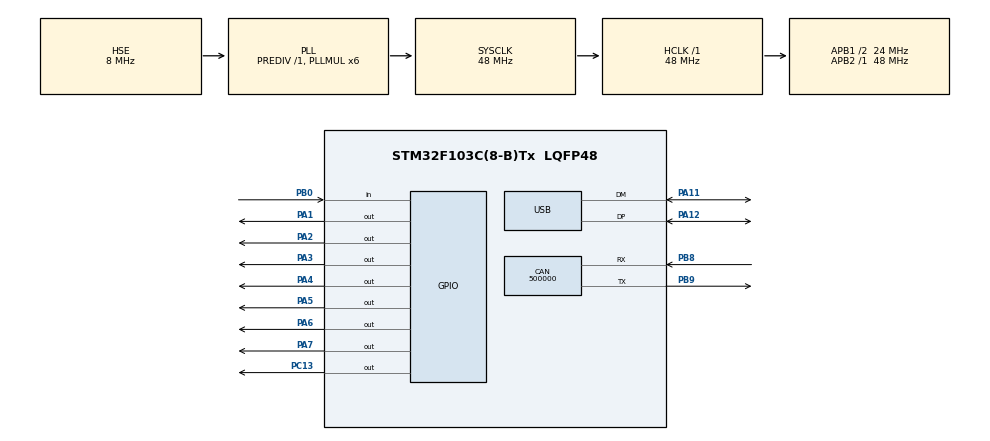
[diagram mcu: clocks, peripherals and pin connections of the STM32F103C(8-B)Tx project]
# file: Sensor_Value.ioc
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Mcu.Family=STM32F1
RCC.PLLSourceVirtual=RCC_PLLSOURCE_HSE
USB_DEVICE.CLASS_NAME_FS=CDC
PA3.GPIO_ModeDefaultOutputPP=GPIO_MODE_OUTPUT_PP
PD1-OSC_OUT.Mode=HSE-External-Oscillator
USB_DEVICE.VirtualModeFS=Cdc_FS
CAN.CalculateBaudRate=500000
PC13-TAMPER-RTC.Signal=GPIO_Output
PA11.Mode=Device
PD0-OSC_IN.Signal=RCC_OSC_IN
RCC.APB1CLKDivider=RCC_HCLK_DIV2
CAN.CalculateTimeBit=1999.99
RCC.SYSCLKSource=RCC_SYSCLKSOURCE_PLLCLK
ProjectManager.StackSize=0x400
PD1-OSC_OUT.Signal=RCC_OSC_OUT
PA13.Signal=SYS_JTMS-SWDIO
PA12.Signal=USB_DP
ProjectManager.TargetToolchain=STM32CubeIDE
USB_DEVICE.PRODUCT_STRING_CDC_FS=STM32 Virtual Port
RCC.HCLKFreq_Value=48000000
VP_USB_DEVICE_VS_USB_DEVICE_CDC_FS.Mode=CDC_FS
PB9.Mode=CAN_Activate
RCC.APB2TimFreq_Value=48000000
RCC.USBFreq_Value=48000000
PA1.Signal=GPIO_Output
RCC.AHBFreq_Value=48000000
PD0-OSC_IN.Mode=HSE-External-Oscillator
PA5.Signal=GPIO_Output
board=custom
RCC.PLLMUL=RCC_PLL_MUL6
RCC.APB2Freq_Value=48000000
PA5.GPIO_ModeDefaultOutputPP=GPIO_MODE_OUTPUT_PP
VP_TIM2_VS_ClockSourceINT.Mode=Internal
PA14.Mode=Serial_Wire
NVIC.USB_LP_CAN1_RX0_IRQn=true\:0\:0\:false\:false\:true\:false\:true
TIM2.Period=0xffff
PA13.Mode=Serial_Wire
Mcu.Name=STM32F103C(8-B)Tx
CAN.CalculateTimeQuantum=666.6666666666666
PA2.Signal=GPIO_Output
PA4.Signal=GPIO_Output
RCC.SYSCLKFreq_VALUE=48000000
Mcu.Package=LQFP48
PB9.Signal=CAN_TX
TIM2.Prescaler=72
PA6.Signal=GPIO_Output
PA2.GPIO_ModeDefaultOutputPP=GPIO_MODE_OUTPUT_PP
PA12.Mode=Device
PA11.Signal=USB_DM
PA14.Signal=SYS_JTCK-SWCLK
ProjectManager.HeapSize=0x200
PA4.GPIO_ModeDefaultOutputPP=GPIO_MODE_OUTPUT_PP
PA6.GPIO_ModeDefaultOutputPP=GPIO_MODE_OUTPUT_PP
NVIC.PriorityGroup=NVIC_PRIORITYGROUP_4
PB8.Mode=CAN_Activate
RCC.APB1TimFreq_Value=48000000
PB8.Signal=CAN_RX
RCC.APB1Freq_Value=24000000
PB0.Signal=GPIO_Input
USB_DEVICE.VirtualMode=Cdc
PA3.Signal=GPIO_Output
PA7.Signal=GPIO_Output
PA1.GPIO_ModeDefaultOutputPP=GPIO_MODE_OUTPUT_PP

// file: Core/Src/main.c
/* USER CODE BEGIN Header */
/**
  ******************************************************************************
  * @file           : main.c
  * @brief          : Main program body
  ******************************************************************************
  * @attention
  *
  * <h2><center>&copy; Copyright (c) 2021 STMicroelectronics.
  * All rights reserved.</center></h2>
  *
  * This software component is licensed by ST under BSD 3-Clause license,
  * the "License"; You may not use this file except in compliance with the
  * License. You may obtain a copy of the License at:
  *                        opensource.org/licenses/BSD-3-Clause
  *
  ******************************************************************************
  */
/* USER CODE END Header */
#include "main.h"
#include "usb_device.h"

CAN_HandleTypeDef hcan;

TIM_HandleTypeDef htim2;

void SystemClock_Config(void);
static void MX_GPIO_Init(void);
static void MX_CAN_Init(void);
static void MX_TIM2_Init(void);

/* USER CODE BEGIN 0 */

unsigned short int A=71;

/* USER CODE END 0 */

int main(void)
{

  /* MCU Configuration--------------------------------------------------------*/

  /* Reset of all peripherals, Initializes the Flash interface and the Systick. */
  HAL_Init();

  /* Configure the system clock */
  SystemClock_Config();

  /* Initialize all configured peripherals */
  MX_GPIO_Init();
  MX_CAN_Init();
  MX_TIM2_Init();
  MX_USB_DEVICE_Init();
  /* USER CODE BEGIN 2 */

  affiche_dec(A);

  /* USER CODE END 2 */

  /* Infinite loop */
  while (1)
  {

    /* USER CODE BEGIN 3 */
	  HAL_GPIO_TogglePin(GPIOC, GPIO_PIN_13);
	  HAL_Delay(500);

  }
  /* USER CODE END 3 */
}

void SystemClock_Config(void)
{
  RCC_OscInitTypeDef RCC_OscInitStruct = {0};
  RCC_ClkInitTypeDef RCC_ClkInitStruct = {0};
  RCC_PeriphCLKInitTypeDef PeriphClkInit = {0};

  /** Initializes the RCC Oscillators according to the specified parameters
  * in the RCC_OscInitTypeDef structure.
  */
  RCC_OscInitStruct.OscillatorType = RCC_OSCILLATORTYPE_HSE;
  RCC_OscInitStruct.HSEState = RCC_HSE_ON;
  RCC_OscInitStruct.HSEPredivValue = RCC_HSE_PREDIV_DIV1;
  RCC_OscInitStruct.HSIState = RCC_HSI_ON;
  RCC_OscInitStruct.PLL.PLLState = RCC_PLL_ON;
  RCC_OscInitStruct.PLL.PLLSource = RCC_PLLSOURCE_HSE;
  RCC_OscInitStruct.PLL.PLLMUL = RCC_PLL_MUL6;
  if (HAL_RCC_OscConfig(&RCC_OscInitStruct) != HAL_OK)
  {
    Error_Handler();
  }
  /** Initializes the CPU, AHB and APB buses clocks
  */
  RCC_ClkInitStruct.ClockType = RCC_CLOCKTYPE_HCLK|RCC_CLOCKTYPE_SYSCLK
                              |RCC_CLOCKTYPE_PCLK1|RCC_CLOCKTYPE_PCLK2;
  RCC_ClkInitStruct.SYSCLKSource = RCC_SYSCLKSOURCE_PLLCLK;
  RCC_ClkInitStruct.AHBCLKDivider = RCC_SYSCLK_DIV1;
  RCC_ClkInitStruct.APB1CLKDivider = RCC_HCLK_DIV2;
  RCC_ClkInitStruct.APB2CLKDivider = RCC_HCLK_DIV1;

  if (HAL_RCC_ClockConfig(&RCC_ClkInitStruct, FLASH_LATENCY_1) != HAL_OK)
  {
    Error_Handler();
  }
  PeriphClkInit.PeriphClockSelection = RCC_PERIPHCLK_USB;
  PeriphClkInit.UsbClockSelection = RCC_USBCLKSOURCE_PLL;
  if (HAL_RCCEx_PeriphCLKConfig(&PeriphClkInit) != HAL_OK)
  {
    Error_Handler();
  }
}

static void MX_CAN_Init(void)
{

  hcan.Instance = CAN1;
  hcan.Init.Prescaler = 16;
  hcan.Init.Mode = CAN_MODE_NORMAL;
  hcan.Init.SyncJumpWidth = CAN_SJW_1TQ;
  hcan.Init.TimeSeg1 = CAN_BS1_1TQ;
  hcan.Init.TimeSeg2 = CAN_BS2_1TQ;
  hcan.Init.TimeTriggeredMode = DISABLE;
  hcan.Init.AutoBusOff = DISABLE;
  hcan.Init.AutoWakeUp = DISABLE;
  hcan.Init.AutoRetransmission = DISABLE;
  hcan.Init.ReceiveFifoLocked = DISABLE;
  hcan.Init.TransmitFifoPriority = DISABLE;
  if (HAL_CAN_Init(&hcan) != HAL_OK)
  {
    Error_Handler();
  }

}

static void MX_TIM2_Init(void)
{

  TIM_ClockConfigTypeDef sClockSourceConfig = {0};
  TIM_MasterConfigTypeDef sMasterConfig = {0};

  htim2.Instance = TIM2;
  htim2.Init.Prescaler = 72;
  htim2.Init.CounterMode = TIM_COUNTERMODE_UP;
  htim2.Init.Period = 0xffff;
  htim2.Init.ClockDivision = TIM_CLOCKDIVISION_DIV1;
  htim2.Init.AutoReloadPreload = TIM_AUTORELOAD_PRELOAD_DISABLE;
  if (HAL_TIM_Base_Init(&htim2) != HAL_OK)
  {
    Error_Handler();
  }
  sClockSourceConfig.ClockSource = TIM_CLOCKSOURCE_INTERNAL;
  if (HAL_TIM_ConfigClockSource(&htim2, &sClockSourceConfig) != HAL_OK)
  {
    Error_Handler();
  }
  sMasterConfig.MasterOutputTrigger = TIM_TRGO_RESET;
  sMasterConfig.MasterSlaveMode = TIM_MASTERSLAVEMODE_DISABLE;
  if (HAL_TIMEx_MasterConfigSynchronization(&htim2, &sMasterConfig) != HAL_OK)
  {
    Error_Handler();
  }

}

static void MX_GPIO_Init(void)
{
  GPIO_InitTypeDef GPIO_InitStruct = {0};

  /* GPIO Ports Clock Enable */
  __HAL_RCC_GPIOC_CLK_ENABLE();
  __HAL_RCC_GPIOD_CLK_ENABLE();
  __HAL_RCC_GPIOA_CLK_ENABLE();
  __HAL_RCC_GPIOB_CLK_ENABLE();

  /*Configure GPIO pin Output Level */
  HAL_GPIO_WritePin(GPIOC, GPIO_PIN_13, GPIO_PIN_RESET);

  /*Configure GPIO pin Output Level */
  HAL_GPIO_WritePin(GPIOA, GPIO_PIN_1|GPIO_PIN_2|GPIO_PIN_3|GPIO_PIN_4
                          |GPIO_PIN_5|GPIO_PIN_6|GPIO_PIN_7, GPIO_PIN_RESET);

  /*Configure GPIO pin : PC13 */
  GPIO_InitStruct.Pin = GPIO_PIN_13;
  GPIO_InitStruct.Mode = GPIO_MODE_OUTPUT_PP;
  GPIO_InitStruct.Pull = GPIO_NOPULL;
  GPIO_InitStruct.Speed = GPIO_SPEED_FREQ_LOW;
  HAL_GPIO_Init(GPIOC, &GPIO_InitStruct);

  /*Configure GPIO pins : PA1 PA2 PA3 PA4
                           PA5 PA6 PA7 */
  GPIO_InitStruct.Pin = GPIO_PIN_1|GPIO_PIN_2|GPIO_PIN_3|GPIO_PIN_4
                          |GPIO_PIN_5|GPIO_PIN_6|GPIO_PIN_7;
  GPIO_InitStruct.Mode = GPIO_MODE_OUTPUT_PP;
  GPIO_InitStruct.Pull = GPIO_NOPULL;
  GPIO_InitStruct.Speed = GPIO_SPEED_FREQ_LOW;
  HAL_GPIO_Init(GPIOA, &GPIO_InitStruct);

  /*Configure GPIO pin : PB0 */
  GPIO_InitStruct.Pin = GPIO_PIN_0;
  GPIO_InitStruct.Mode = GPIO_MODE_INPUT;
  GPIO_InitStruct.Pull = GPIO_NOPULL;
  HAL_GPIO_Init(GPIOB, &GPIO_InitStruct);

}

/* USER CODE BEGIN 4 */

void delay (uint16_t time){
	__HAL_TIM_SET_COUNTER(&htim2,0);
	while ( (__HAL_TIM_GET_COUNTER(&htim2)) < time);

}

void Set_Pin_Output (GPIO_TypeDef *GPIOx, uint16_t GPIO_Pin)
{
	GPIO_InitTypeDef DHT11_DATA = {0};
	DHT11_DATA.Pin = GPIO_Pin;
	DHT11_DATA.Mode = GPIO_MODE_OUTPUT_PP;
	DHT11_DATA.Pull = GPIO_NOPULL;
	DHT11_DATA.Speed = GPIO_SPEED_FREQ_LOW;

	HAL_GPIO_Init(GPIOx, &DHT11_DATA);
}

void Set_Pin_Input (GPIO_TypeDef *GPIOx, uint16_t GPIO_Pin)
{
	GPIO_InitTypeDef DHT11_DATA = {0};
	DHT11_DATA.Pin = GPIO_Pin;
	DHT11_DATA.Mode = GPIO_MODE_INPUT;
	DHT11_DATA.Pull = GPIO_NOPULL;
	DHT11_DATA.Speed = GPIO_SPEED_FREQ_LOW;
	HAL_GPIO_Init(GPIOx, &DHT11_DATA);
}

void DHT11_Start (void)
{
	Set_Pin_Output (DHT11_PORT, DHT11_PIN);  // set the pin as output
	HAL_GPIO_WritePin (DHT11_PORT, DHT11_PIN, 0);   // pull the pin low
	delay (18000);   // wait for 18ms
	Set_Pin_Input(DHT11_PORT, DHT11_PIN);    // set as input
}

uint8_t Check_Response (void)
{
	uint8_t Response = 0;
	delay (40);
	if (!(HAL_GPIO_ReadPin (DHT11_PORT, DHT11_PIN)))
	{
		delay (80);
		if ((HAL_GPIO_ReadPin (DHT11_PORT, DHT11_PIN))) Response = 1;
		else Response = -1;
	}
	while ((HAL_GPIO_ReadPin (DHT11_PORT, DHT11_PIN)));   // wait for the pin to go low

	return Response;
}

uint8_t DHT11_Read (void)
{
	uint8_t i,j;
	for (j=0;j<8;j++)
	{
		while (!(HAL_GPIO_ReadPin (DHT11_PORT, DHT11_PIN)));   // wait for the pin to go high
		delay (40);   // wait for 40 us
		if (!(HAL_GPIO_ReadPin (DHT11_PORT, DHT11_PIN)))   // if the pin is low
		{
			i&= ~(1<<(7-j));   // write 0
		}
		else i|= (1<<(7-j));  // if the pin is high, write 1
		while ((HAL_GPIO_ReadPin (DHT11_PORT, DHT11_PIN)));  // wait for the pin to go low
	}
	return i;
}

/* USER CODE END 4 */

void Error_Handler(void)
{
  __disable_irq();
  while (1)
  {
  }
}

/************************ (C) COPYRIGHT STMicroelectronics *****END OF FILE****/
